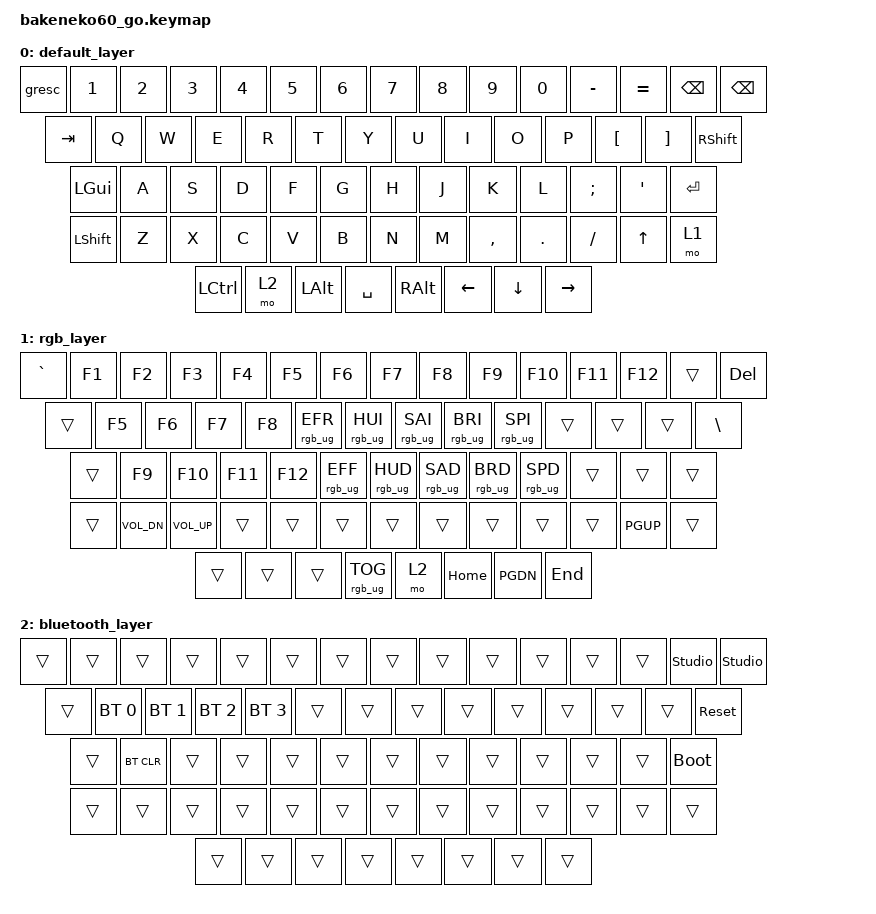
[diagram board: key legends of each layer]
/*
 * Copyright (c) 2023 Andrew Kannan
 *
 * SPDX-License-Identifier: MIT
 */

#include <behaviors.dtsi>
#include <dt-bindings/zmk/keys.h>
#include <dt-bindings/zmk/rgb.h>
#include <dt-bindings/zmk/bt.h>

/ {
    keymap {
        compatible = "zmk,keymap";

        default_layer {
// ------------------------------------------------------------------------------------------
// | ESC |  1  |  2  |  3  |  4  |  5  |  6  |  7  |  8  |  9  |  0  |  -  |  =  | BKSP|BKSP|
// | TAB  |  Q  |  W  |  E  |  R  |  T  |  Y  |  U  |  I  |  O  |  P  |  [  |  ]  |   "|"   |
// | CAPS  |  A  |  S  |  D  |  F  |  G  |  H  |  J  |  K  |  L  |  ;  |  '  |     ENTER    |
// |  SHIFT  |  Z  |  X  |  C  |  V  |  B  |  N  |  M  |  ,  |  .  |  /  |  SHIFT  | MO(1)  |
// |  CTL  |  WIN  |  ALT  |            SPACE              |  ALT  |  WIN  |  MO(1) |  CTL  |
// ------------------------------------------------------------------------------------------
            bindings = <
    &gresc  &kp N1 &kp N2 &kp N3 &kp N4 &kp N5 &kp N6 &kp N7 &kp N8 &kp N9 &kp N0 &kp MINUS &kp EQUAL  &kp BSPC &kp BSPC
    &kp TAB  &kp Q  &kp W  &kp E  &kp R  &kp T  &kp Y  &kp U  &kp I  &kp O  &kp P  &kp LBKT  &kp RBKT  &kp RSHFT
    &kp LGUI  &kp A  &kp S  &kp D  &kp F  &kp G  &kp H  &kp J  &kp K  &kp L  &kp SEMI &kp SQT           &kp RET
    &kp LSHFT   &kp Z  &kp X  &kp C  &kp V  &kp B  &kp N  &kp M  &kp COMMA &kp DOT &kp FSLH   &kp UP &mo 1
    &kp LCTRL &mo 2 &kp LALT             &kp SPACE                     &kp RALT  &kp LEFT  &kp DOWN   &kp RIGHT
            >;
        };

        rgb_layer {
// ------------------------------------------------------------------------------------------------
// |    `   | F1  | F2  | F3  | F4  | F5  | F6  | F7  | F8  | F9  | F10  | F11 | F12 |     | DEL  |
// | EFCT REV|   |  UP |   | HUEUP | SATUP | BRIUP | SPDUP |      |  PGUP |    |     |    |   "|" |
// | EFCT FWD | LT |  DN  | RT | HUEDN | SATDN | BRIDN | SPDDN | HOME | PGDN | END  |  | BOOTLDR  |
// |             |     |      |      |     |     |     |     |     |     |     |         |        |
// |         |      |      |             TOG RGB                | PRT SCR |       |       |  MO(2)|
// ------------------------------------------------------------------------------------------------
            bindings = <
    &kp GRAVE &kp F1    &kp F2    &kp F3  &kp F4           &kp F5          &kp F6          &kp F7          &kp F8   &kp F9   &kp F10  &kp F11 &kp F12  &trans &kp DEL
    &trans  &kp F5    &kp F6    &kp F7  &kp F8  &rgb_ug RGB_EFR  &rgb_ug RGB_HUI  &rgb_ug RGB_SAI &rgb_ug RGB_BRI &rgb_ug RGB_SPI  &trans   &trans   &trans   &kp BSLH
    &trans  &kp F9    &kp F10    &kp F11  &kp F12 &rgb_ug RGB_EFF &rgb_ug RGB_HUD &rgb_ug RGB_SAD &rgb_ug RGB_BRD &rgb_ug RGB_SPD  &trans   &trans   &trans
    &trans  &kp K_VOL_DN    &kp K_VOL_UP    &trans  &trans &trans       &trans    &trans    &trans   &trans          &trans                    &kp PGUP  &trans
    &trans       &trans   &trans                            &rgb_ug RGB_TOG                                      &mo 2      &kp HOME &kp PGDN &kp END
            >;
        };

        bluetooth_layer {
// ------------------------------------------------------------------------------------------------
// | BT CLR |     |     |     |     |     |     |     |     |     |     |    |    |       |       |
// |  BT 1   |   |     |   |       |       |       |       |   |     |    |     |     |           |
// |   BT 2   |    |      |    |       |       |       |       |      |      |      |  |   Reset  |
// |    BT 3     |     |      |      |     |     |     |     |     |     |     |         |        |
// |   BT 4  |      |      |                                    |         |       |       |       |
// ------------------------------------------------------------------------------------------------
            bindings = <
    &trans   &trans    &trans    &trans  &trans           &trans          &trans     &trans      &trans   &trans   &trans  &trans &trans  &studio_unlock &studio_unlock
    &trans  &bt BT_SEL 0   &bt BT_SEL 1    &bt BT_SEL 2  &bt BT_SEL 3  &trans &trans &trans  &trans   &trans   &trans   &trans  &trans        &sys_reset
    &trans   &bt BT_CLR  &trans  &trans &trans &trans &trans &trans &trans &trans &trans   &trans        &bootloader
    &trans    &trans    &trans    &trans   &trans          &trans          &trans          &trans          &trans   &trans   &trans     &trans  &trans
    &trans  &trans   &trans                            &trans                                      &trans      &trans      &trans               &trans
            >;
        };

    };

    combos {
        compatible = "zmk,combos";
    };

};
